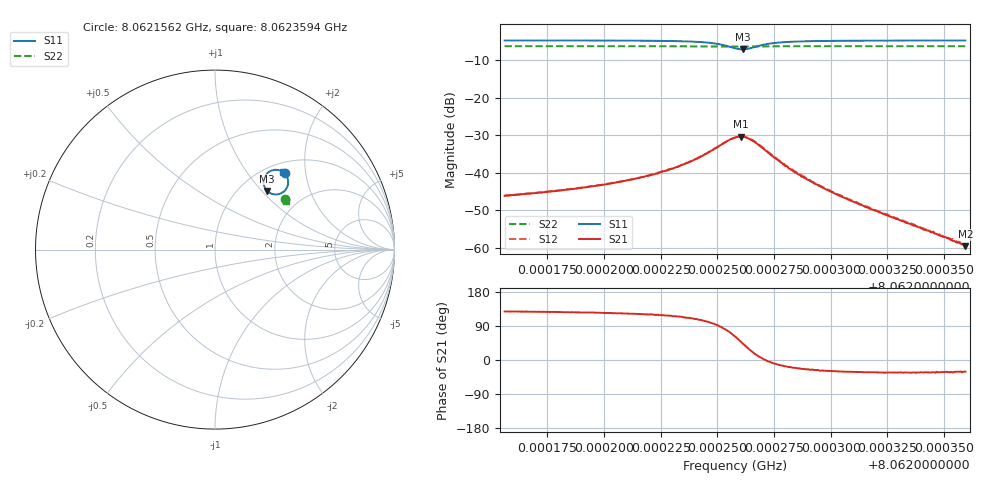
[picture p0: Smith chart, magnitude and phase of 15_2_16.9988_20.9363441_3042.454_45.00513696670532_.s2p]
#  HZ  S  RI  R  50.00
! Rohde & Schwarz Vector Network Analyzer
! Rohde-Schwarz,ZNB20-2Port,1311601062101988,3.16
! Created: UTC 3/20/2024, 10:52:45 PM
! freq[Hz]  re:S11  im:S11  re:S21  im:S21  re:S12  im:S12  re:S22  im:S22
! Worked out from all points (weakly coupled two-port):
!   401 points, 8.0621562 GHz to 8.0623594 GHz, reference 50 ohm
!   highest |S21| = -30.41 dB at 8.0622603 GHz (marker M1); lowest = -59.6 dB at 8.0623594 GHz (marker M2)
!   lowest |S11| = -7.2 dB at 8.0622613 GHz (marker M3), VSWR 2.56, Z = 66.2 + j53.6 ohm
!   |S11| at or under -10 dB: nowhere
!   |S22| runs from -6.4 to -6.3 dB; largest |S21 - S12| = 0.0013
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8.06215617e9  0.3881 0.4242  -0.00301 0.00386  -0.00281 0.00406  0.3914 0.2818
8.0621902e9  0.3939 0.4174  -0.00365 0.00511  -0.00339 0.00534  0.3928 0.28
8.06220747e9  0.398 0.4112  -0.00414 0.00636  -0.00379 0.00665  0.3932 0.279
8.06221459e9  0.4001 0.4073  -0.00441 0.00715  -0.00401 0.00742  0.3936 0.2784
8.06222424e9  0.4035 0.3999  -0.00471 0.00874  -0.00429 0.00906  0.3938 0.2774
8.06223033e9  0.4056 0.393  -0.00486 0.0102  -0.00437 0.0105  0.394 0.2768
8.06223541e9  0.4072 0.3847  -0.00499 0.012  -0.00427 0.0123  0.3941 0.2763
8.06224202e9  0.4073 0.3686  -0.00444 0.0153  -0.0037 0.0156  0.3941 0.2753
8.06224761e9  0.4016 0.3472  -0.00254 0.0196  -0.00144 0.0197  0.3937 0.2743
8.06225319e9  0.3779 0.3192  0.00351 0.025  0.00462 0.0246  0.3926 0.2731
8.06225777e9  0.3322 0.3075  0.0136 0.0259  0.0147 0.0255  0.3905 0.2731
8.06226031e9  0.3012 0.3185  0.02 0.0226  0.0209 0.022  0.3896 0.2739
8.06226132e9  0.2904 0.3272  0.0222 0.0203  0.0229 0.0198  0.3893 0.2744
8.06226335e9  0.2755 0.3498  0.0245 0.0151  0.0254 0.0145  0.3891 0.2753
8.06226589e9  0.2703 0.3796  0.0247 0.00849  0.0255 0.00778  0.3893 0.2767
8.0622725e9  0.294 0.4278  0.0182 -0.00123  0.0187 -0.00199  0.3911 0.2781
8.06228113e9  0.3256 0.4433  0.0111 -0.0037  0.0111 -0.00431  0.3929 0.2778
8.0622918e9  0.3466 0.4442  0.00672 -0.00313  0.00661 -0.0037  0.3942 0.2771
8.06230704e9  0.3612 0.441  0.00385 -0.0023  0.00375 -0.00256  0.3953 0.276
8.06232584e9  0.3703 0.4372  0.00219 -0.00142  0.00217 -0.00159  0.3962 0.2747
8.06235733e9  0.3782 0.4326  0.000984 -0.000568  0.000953 -0.000691  0.3975 0.2731
8.06235937e9  0.3785 0.4325  0.000903 -0.000532  0.000882 -0.00057  0.3975 0.273
